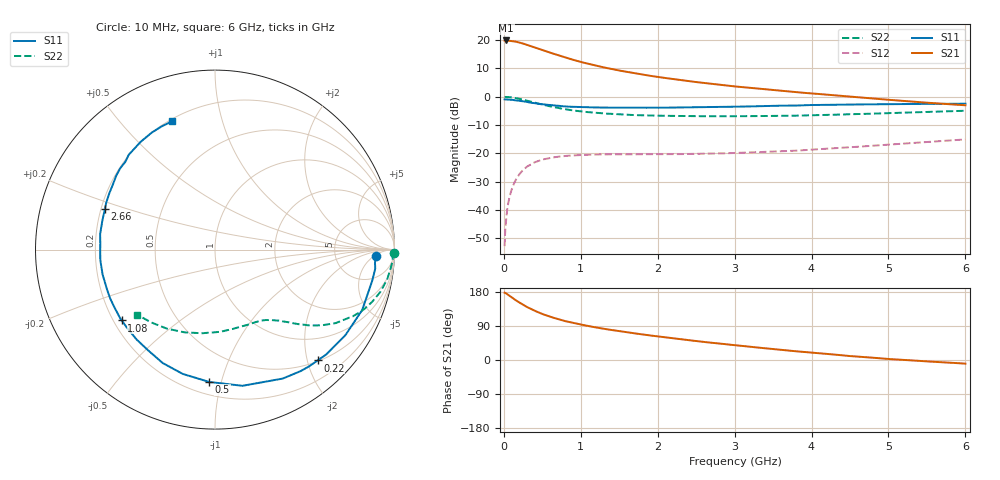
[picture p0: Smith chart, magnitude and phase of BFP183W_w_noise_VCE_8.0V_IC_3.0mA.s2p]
! Infineon Technologies  Discrete & RF Semiconductors
! BFP183W
! VCE = 8.0 V,  IC =  3.0 mA
! Common Emitter S-Parameters:  Jan 2016
# GHz  S  MA  R  50
!  f  S11  S21  S12  S22
! GHz  MAG  ANG  MAG  ANG  MAG  ANG  MAG  ANG
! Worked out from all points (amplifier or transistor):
!   210 points, 10 MHz to 6 GHz, reference 50 ohm
!   highest |S21| = 19.9 dB at 30 MHz (marker M1)
!   |S21| within 3 dB of that: start of sweep to 461.1 MHz
!   unconditionally stable (mu >= 1): 2.192 GHz to end of sweep
!   at 185 MHz: K = 0.10, MSG = 23.6 dB, |S12| = -28.0 dB
!   at 1.52 GHz: K = 0.74, MSG = 14.8 dB, |S12| = -20.3 dB
!   at 6 GHz: K = 1.01, MAG = 5.6 dB, |S12| = -15.1 dB
!   lowest NFmin = 1.10 dB at 450 MHz
!   S11 on the Smith chart (normalised r, x): 10 MHz: 17, -6; 220 MHz: 0.52, -2.19; 500 MHz: 0.28, -0.92; 1.08 GHz: 0.23, -0.32; 2.66 GHz: 0.22, +0.17; 6 GHz: 0.21, +0.70
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0.01  0.8983 -2.2  9.794 177.6  0.0023 86.5  0.9949 -1.0
0.02  0.8942 -4.6  9.847 177.1  0.0047 84.2  0.9897 -2.0
0.03  0.8991 -6.8  9.858 175.7  0.0068 85.8  0.9914 -3.0
0.075  0.8856 -16.8  9.705 169.2  0.0171 79.3  0.9798 -7.3
0.15  0.869 -33.2  9.425 158.4  0.0331 71.8  0.9507 -14.4
0.2  0.8515 -43.4  9.07 151.8  0.0425 66.6  0.9218 -18.5
0.22  0.8417 -47.2  8.912 149.5  0.0459 64.3  0.9087 -20.0
0.3  0.8116 -62.3  8.272 139.9  0.0582 56.6  0.8547 -25.7
0.4  0.7741 -78.6  7.475 129.9  0.0695 48.8  0.7878 -31.3
0.5  0.738 -92.5  6.694 121.2  0.0778 42.7  0.7282 -35.4
0.6  0.7156 -104.5  6.013 114.1  0.0832 37.6  0.6764 -38.7
0.7  0.696 -114.7  5.447 108.0  0.0872 34.0  0.6352 -41.0
0.82  0.6712 -124.9  4.834 101.6  0.0905 30.3  0.5956 -43.5
1.02  0.6549 -139.3  4.047 92.7  0.0937 26.1  0.5479 -46.8
1.08  0.6527 -142.8  3.87 90.3  0.0944 25.1  0.537 -47.6
1.42  0.641 -160.1  3.051 78.5  0.0964 21.3  0.4962 -52.3
2.02  0.6397 177.4  2.219 61.7  0.0967 20.6  0.463 -60.8
2.66  0.6538 159.9  1.714 46.4  0.0987 23.6  0.4526 -71.5
3.1  0.6704 149.7  1.479 37.1  0.1026 26.3  0.4532 -79.6
4.1  0.7162 130.7  1.117 17.8  0.1188 32.3  0.4736 -100.9
5.1  0.7422 117.3  0.863 1.5  0.1456 35.0  0.5191 -123.4
6  0.7533 108.5  0.707 -9.6  0.1765 34.3  0.5657 -140.2
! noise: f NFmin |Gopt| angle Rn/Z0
0.45  1.1  0.37  35  0.3
0.9  1.15  0.34  85  0.23
1.8  1.9  0.35  160  0.13
